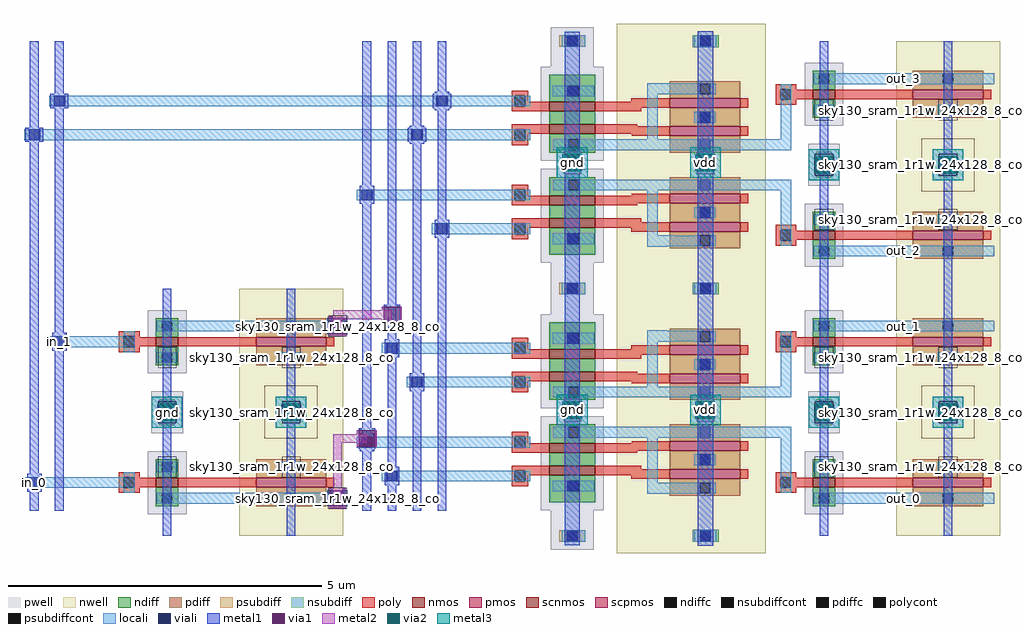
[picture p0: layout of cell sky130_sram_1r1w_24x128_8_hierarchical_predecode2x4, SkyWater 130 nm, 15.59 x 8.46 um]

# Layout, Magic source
magic
tech sky130B
magscale 1 2
<< locali >>
rect 2583 1443 3160 1477
rect 174 1372 1662 1406
rect 94 1264 1662 1298
rect 1156 1072 1662 1106
rect 1396 964 1662 998
rect 2583 893 3160 927
rect 2583 653 3160 687
rect 174 603 414 637
rect 1236 582 1662 616
rect 1316 474 1662 508
rect 1156 282 1662 316
rect 94 153 414 187
rect 1236 174 1662 208
rect 2583 103 3160 137
<< metal1 >>
rect 80 199 108 1580
rect 160 649 188 1580
rect 151 591 197 649
rect 71 141 117 199
rect 80 80 108 141
rect 160 80 188 591
rect 504 421 532 790
rect 900 421 928 790
rect 1030 644 1094 696
rect 486 369 550 421
rect 882 369 946 421
rect 504 80 532 369
rect 900 80 928 369
rect 1030 94 1094 146
rect 1142 80 1170 1580
rect 1222 80 1250 1580
rect 1302 80 1330 1580
rect 1382 80 1410 1580
rect 1788 1218 1836 1610
rect 2212 1218 2262 1612
rect 1780 1166 1844 1218
rect 2205 1166 2269 1218
rect 2602 1211 2630 1580
rect 2998 1211 3026 1580
rect 1788 428 1836 1166
rect 2212 428 2262 1166
rect 2584 1159 2648 1211
rect 2980 1159 3044 1211
rect 1780 376 1844 428
rect 2205 376 2269 428
rect 2602 421 2630 1159
rect 2998 421 3026 1159
rect 1788 80 1836 376
rect 2212 80 2262 376
rect 2584 369 2648 421
rect 2980 369 3044 421
rect 2602 80 2630 369
rect 2998 80 3026 369
<< metal2 >>
rect 1784 1168 1840 1216
rect 2209 1168 2265 1216
rect 2588 1161 2644 1209
rect 2984 1161 3040 1209
rect 1048 692 1236 720
rect 1048 670 1076 692
rect 490 371 546 419
rect 886 371 942 419
rect 1784 378 1840 426
rect 2209 378 2265 426
rect 2588 371 2644 419
rect 2984 371 3040 419
rect 1048 297 1156 325
rect 1048 120 1076 297
<< metal3 >>
rect 1763 1143 1861 1241
rect 2188 1143 2286 1241
rect 2567 1136 2665 1234
rect 2963 1136 3061 1234
rect 469 346 567 444
rect 865 346 963 444
rect 1763 353 1861 451
rect 2188 353 2286 451
rect 2567 346 2665 444
rect 2963 346 3061 444
use sky130_sram_1r1w_24x128_8_and2_dec  sky130_sram_1r1w_24x128_8_and2_dec_0
transform 1 0 1542 0 -1 1580
box 70 -56 1636 490
use sky130_sram_1r1w_24x128_8_and2_dec  sky130_sram_1r1w_24x128_8_and2_dec_1
transform 1 0 1542 0 1 790
box 70 -56 1636 490
use sky130_sram_1r1w_24x128_8_and2_dec  sky130_sram_1r1w_24x128_8_and2_dec_2
transform 1 0 1542 0 -1 790
box 70 -56 1636 490
use sky130_sram_1r1w_24x128_8_and2_dec  sky130_sram_1r1w_24x128_8_and2_dec_3
transform 1 0 1542 0 1 0
box 70 -56 1636 490
use sky130_sram_1r1w_24x128_8_contact_13  sky130_sram_1r1w_24x128_8_contact_13_0
transform 1 0 1033 0 1 637
box 0 0 58 66
use sky130_sram_1r1w_24x128_8_contact_13  sky130_sram_1r1w_24x128_8_contact_13_1
transform 1 0 1033 0 1 87
box 0 0 58 66
use sky130_sram_1r1w_24x128_8_contact_16  sky130_sram_1r1w_24x128_8_contact_16_0
transform 1 0 1363 0 1 1360
box 0 0 66 58
use sky130_sram_1r1w_24x128_8_contact_16  sky130_sram_1r1w_24x128_8_contact_16_1
transform 1 0 1283 0 1 1252
box 0 0 66 58
use sky130_sram_1r1w_24x128_8_contact_16  sky130_sram_1r1w_24x128_8_contact_16_2
transform 1 0 1363 0 1 952
box 0 0 66 58
use sky130_sram_1r1w_24x128_8_contact_16  sky130_sram_1r1w_24x128_8_contact_16_3
transform 1 0 1123 0 1 1060
box 0 0 66 58
use sky130_sram_1r1w_24x128_8_contact_16  sky130_sram_1r1w_24x128_8_contact_16_4
transform 1 0 1203 0 1 570
box 0 0 66 58
use sky130_sram_1r1w_24x128_8_contact_16  sky130_sram_1r1w_24x128_8_contact_16_5
transform 1 0 1283 0 1 462
box 0 0 66 58
use sky130_sram_1r1w_24x128_8_contact_16  sky130_sram_1r1w_24x128_8_contact_16_6
transform 1 0 1203 0 1 162
box 0 0 66 58
use sky130_sram_1r1w_24x128_8_contact_16  sky130_sram_1r1w_24x128_8_contact_16_7
transform 1 0 1123 0 1 270
box 0 0 66 58
use sky130_sram_1r1w_24x128_8_contact_16  sky130_sram_1r1w_24x128_8_contact_16_8
transform 1 0 141 0 1 591
box 0 0 66 58
use sky130_sram_1r1w_24x128_8_contact_16  sky130_sram_1r1w_24x128_8_contact_16_9
transform 1 0 61 0 1 141
box 0 0 66 58
use sky130_sram_1r1w_24x128_8_contact_18  sky130_sram_1r1w_24x128_8_contact_18_0
transform 1 0 2584 0 1 1153
box 0 0 64 64
use sky130_sram_1r1w_24x128_8_contact_18  sky130_sram_1r1w_24x128_8_contact_18_1
transform 1 0 1780 0 1 1160
box 0 0 64 64
use sky130_sram_1r1w_24x128_8_contact_18  sky130_sram_1r1w_24x128_8_contact_18_2
transform 1 0 2584 0 1 363
box 0 0 64 64
use sky130_sram_1r1w_24x128_8_contact_18  sky130_sram_1r1w_24x128_8_contact_18_3
transform 1 0 1780 0 1 370
box 0 0 64 64
use sky130_sram_1r1w_24x128_8_contact_18  sky130_sram_1r1w_24x128_8_contact_18_4
transform 1 0 486 0 1 363
box 0 0 64 64
use sky130_sram_1r1w_24x128_8_contact_18  sky130_sram_1r1w_24x128_8_contact_18_5
transform 1 0 486 0 1 363
box 0 0 64 64
use sky130_sram_1r1w_24x128_8_contact_18  sky130_sram_1r1w_24x128_8_contact_18_6
transform 1 0 2205 0 1 1160
box 0 0 64 64
use sky130_sram_1r1w_24x128_8_contact_18  sky130_sram_1r1w_24x128_8_contact_18_7
transform 1 0 2980 0 1 1153
box 0 0 64 64
use sky130_sram_1r1w_24x128_8_contact_18  sky130_sram_1r1w_24x128_8_contact_18_8
transform 1 0 2205 0 1 370
box 0 0 64 64
use sky130_sram_1r1w_24x128_8_contact_18  sky130_sram_1r1w_24x128_8_contact_18_9
transform 1 0 2980 0 1 363
box 0 0 64 64
use sky130_sram_1r1w_24x128_8_contact_18  sky130_sram_1r1w_24x128_8_contact_18_10
transform 1 0 882 0 1 363
box 0 0 64 64
use sky130_sram_1r1w_24x128_8_contact_18  sky130_sram_1r1w_24x128_8_contact_18_11
transform 1 0 882 0 1 363
box 0 0 64 64
use sky130_sram_1r1w_24x128_8_contact_18  sky130_sram_1r1w_24x128_8_contact_18_12
transform 1 0 1030 0 1 638
box 0 0 64 64
use sky130_sram_1r1w_24x128_8_contact_18  sky130_sram_1r1w_24x128_8_contact_18_13
transform 1 0 1030 0 1 88
box 0 0 64 64
use sky130_sram_1r1w_24x128_8_contact_19  sky130_sram_1r1w_24x128_8_contact_19_0
transform 1 0 1204 0 1 674
box 0 0 64 64
use sky130_sram_1r1w_24x128_8_contact_19  sky130_sram_1r1w_24x128_8_contact_19_1
transform 1 0 1124 0 1 279
box 0 0 64 64
use sky130_sram_1r1w_24x128_8_contact_20  sky130_sram_1r1w_24x128_8_contact_20_0
transform 1 0 1363 0 1 1366
box 0 0 66 46
use sky130_sram_1r1w_24x128_8_contact_20  sky130_sram_1r1w_24x128_8_contact_20_1
transform 1 0 141 0 1 1366
box 0 0 66 46
use sky130_sram_1r1w_24x128_8_contact_20  sky130_sram_1r1w_24x128_8_contact_20_2
transform 1 0 1283 0 1 1258
box 0 0 66 46
use sky130_sram_1r1w_24x128_8_contact_20  sky130_sram_1r1w_24x128_8_contact_20_3
transform 1 0 61 0 1 1258
box 0 0 66 46
use sky130_sram_1r1w_24x128_8_contact_21  sky130_sram_1r1w_24x128_8_contact_21_0
transform 1 0 2583 0 1 1148
box 0 0 66 74
use sky130_sram_1r1w_24x128_8_contact_21  sky130_sram_1r1w_24x128_8_contact_21_1
transform 1 0 1779 0 1 1155
box 0 0 66 74
use sky130_sram_1r1w_24x128_8_contact_21  sky130_sram_1r1w_24x128_8_contact_21_2
transform 1 0 2583 0 1 358
box 0 0 66 74
use sky130_sram_1r1w_24x128_8_contact_21  sky130_sram_1r1w_24x128_8_contact_21_3
transform 1 0 1779 0 1 365
box 0 0 66 74
use sky130_sram_1r1w_24x128_8_contact_21  sky130_sram_1r1w_24x128_8_contact_21_4
transform 1 0 485 0 1 358
box 0 0 66 74
use sky130_sram_1r1w_24x128_8_contact_21  sky130_sram_1r1w_24x128_8_contact_21_5
transform 1 0 485 0 1 358
box 0 0 66 74
use sky130_sram_1r1w_24x128_8_contact_21  sky130_sram_1r1w_24x128_8_contact_21_6
transform 1 0 2204 0 1 1155
box 0 0 66 74
use sky130_sram_1r1w_24x128_8_contact_21  sky130_sram_1r1w_24x128_8_contact_21_7
transform 1 0 2979 0 1 1148
box 0 0 66 74
use sky130_sram_1r1w_24x128_8_contact_21  sky130_sram_1r1w_24x128_8_contact_21_8
transform 1 0 2204 0 1 365
box 0 0 66 74
use sky130_sram_1r1w_24x128_8_contact_21  sky130_sram_1r1w_24x128_8_contact_21_9
transform 1 0 2979 0 1 358
box 0 0 66 74
use sky130_sram_1r1w_24x128_8_contact_21  sky130_sram_1r1w_24x128_8_contact_21_10
transform 1 0 881 0 1 358
box 0 0 66 74
use sky130_sram_1r1w_24x128_8_contact_21  sky130_sram_1r1w_24x128_8_contact_21_11
transform 1 0 881 0 1 358
box 0 0 66 74
use sky130_sram_1r1w_24x128_8_pinv_dec  sky130_sram_1r1w_24x128_8_pinv_dec_0
transform 1 0 320 0 -1 790
box 44 0 760 490
use sky130_sram_1r1w_24x128_8_pinv_dec  sky130_sram_1r1w_24x128_8_pinv_dec_1
transform 1 0 320 0 1 0
box 44 0 760 490
<< labels >>
rlabel metal1 s 71 141 117 199 4 in_0
port 1 nsew
rlabel metal1 s 151 591 197 649 4 in_1
port 2 nsew
rlabel locali s 2871 120 2871 120 4 out_0
port 3 nsew
rlabel locali s 2871 670 2871 670 4 out_1
port 4 nsew
rlabel locali s 2871 910 2871 910 4 out_2
port 5 nsew
rlabel locali s 2871 1460 2871 1460 4 out_3
port 6 nsew
rlabel metal3 s 2188 353 2286 451 4 vdd
port 7 nsew
rlabel metal3 s 2963 346 3061 444 4 vdd
port 7 nsew
rlabel metal3 s 2963 1136 3061 1234 4 vdd
port 7 nsew
rlabel metal3 s 865 346 963 444 4 vdd
port 7 nsew
rlabel metal3 s 2188 1143 2286 1241 4 vdd
port 7 nsew
rlabel metal3 s 2567 346 2665 444 4 gnd
port 8 nsew
rlabel metal3 s 469 346 567 444 4 gnd
port 8 nsew
rlabel metal3 s 2567 1136 2665 1234 4 gnd
port 8 nsew
rlabel metal3 s 1763 1143 1861 1241 4 gnd
port 8 nsew
rlabel metal3 s 1763 353 1861 451 4 gnd
port 8 nsew
<< properties >>
string FIXED_BBOX 0 0 3160 1580
<< end >>

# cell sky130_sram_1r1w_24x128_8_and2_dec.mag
magic
tech sky130B
magscale 1 2
<< locali >>
rect 70 282 136 316
rect 549 314 970 348
rect 70 174 136 208
rect 936 170 970 314
rect 1041 103 1618 137
<< metal1 >>
rect 246 -30 294 402
rect 670 -32 720 402
rect 1060 0 1088 395
rect 1456 0 1484 395
use sky130_fd_bd_sram__openram_dp_nand2_dec  sky130_fd_bd_sram__openram_dp_nand2_dec_0
transform 1 0 0 0 1 0
box 70 -56 888 476
use sky130_sram_1r1w_24x128_8_pinv_dec  sky130_sram_1r1w_24x128_8_pinv_dec_0
transform 1 0 876 0 1 0
box 44 0 760 490
<< labels >>
rlabel locali s 1329 120 1329 120 4 Z
port 1 nsew
rlabel locali s 103 299 103 299 4 A
port 2 nsew
rlabel locali s 103 191 103 191 4 B
port 3 nsew
rlabel metal1 s 1456 0 1484 395 4 vdd
port 4 nsew
rlabel metal1 s 670 -32 720 402 4 vdd
port 4 nsew
rlabel metal1 s 246 -30 294 402 4 gnd
port 5 nsew
rlabel metal1 s 1060 0 1088 395 4 gnd
port 5 nsew
<< properties >>
string FIXED_BBOX 0 0 1618 395
<< end >>

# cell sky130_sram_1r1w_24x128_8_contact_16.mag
magic
tech sky130B
<< locali >>
rect 0 6 8 23
rect 25 6 33 23
<< viali >>
rect 8 6 25 23
<< metal1 >>
rect 5 23 28 29
rect 5 6 8 23
rect 25 6 28 23
rect 5 0 28 6
<< properties >>
string FIXED_BBOX 0 0 33 29
<< end >>

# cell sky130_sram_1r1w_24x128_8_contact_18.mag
magic
tech sky130B
<< metal1 >>
rect 0 3 3 29
rect 29 3 32 29
<< via1 >>
rect 3 3 29 29
<< metal2 >>
rect 3 29 29 32
rect 3 0 29 3
<< properties >>
string FIXED_BBOX 0 0 32 32
<< end >>

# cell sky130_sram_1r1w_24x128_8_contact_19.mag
magic
tech sky130B
<< metal1 >>
rect 3 29 29 32
rect 3 0 29 3
<< via1 >>
rect 3 3 29 29
<< metal2 >>
rect 0 3 3 29
rect 29 3 32 29
<< properties >>
string FIXED_BBOX 0 0 32 32
<< end >>

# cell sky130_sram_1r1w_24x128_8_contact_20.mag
magic
tech sky130B
<< locali >>
rect 0 3 8 20
rect 25 3 33 20
<< viali >>
rect 8 3 25 20
<< metal1 >>
rect 2 20 31 23
rect 2 3 8 20
rect 25 3 31 20
rect 2 0 31 3
<< properties >>
string FIXED_BBOX 0 0 33 23
<< end >>

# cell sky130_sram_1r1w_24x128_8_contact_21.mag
magic
tech sky130B
magscale 1 2
<< metal2 >>
rect 5 65 61 74
rect 5 0 61 9
<< via2 >>
rect 5 9 61 65
<< metal3 >>
rect 0 65 66 70
rect 0 9 5 65
rect 61 9 66 65
rect 0 4 66 9
<< properties >>
string FIXED_BBOX 0 0 66 74
<< end >>

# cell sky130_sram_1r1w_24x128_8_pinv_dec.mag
magic
tech sky130B
magscale 1 2
<< nwell >>
rect 428 0 760 490
<< poly >>
rect 77 155 136 185
rect 260 155 456 185
<< locali >>
rect 60 137 94 203
rect 165 103 742 137
<< metal1 >>
rect 184 0 212 395
rect 580 0 608 395
use sky130_sram_1r1w_24x128_8_contact_12  sky130_sram_1r1w_24x128_8_contact_12_0
transform 1 0 569 0 1 354
box -59 -43 109 125
use sky130_sram_1r1w_24x128_8_contact_13  sky130_sram_1r1w_24x128_8_contact_13_0
transform 1 0 565 0 1 187
box 0 0 58 66
use sky130_sram_1r1w_24x128_8_contact_13  sky130_sram_1r1w_24x128_8_contact_13_1
transform 1 0 169 0 1 187
box 0 0 58 66
use sky130_sram_1r1w_24x128_8_contact_13  sky130_sram_1r1w_24x128_8_contact_13_2
transform 1 0 169 0 1 362
box 0 0 58 66
use sky130_sram_1r1w_24x128_8_contact_13  sky130_sram_1r1w_24x128_8_contact_13_3
transform 1 0 565 0 1 362
box 0 0 58 66
use sky130_sram_1r1w_24x128_8_contact_14  sky130_sram_1r1w_24x128_8_contact_14_0
transform 1 0 173 0 1 354
box -26 -26 76 108
use sky130_sram_1r1w_24x128_8_contact_15  sky130_sram_1r1w_24x128_8_contact_15_0
transform 1 0 44 0 1 137
box 0 0 66 66
use sky130_sram_1r1w_24x128_8_nmos_m1_w0_360_sli_dli_da_p  sky130_sram_1r1w_24x128_8_nmos_m1_w0_360_sli_dli_da_p_0
transform 0 1 162 -1 0 245
box -26 -26 176 98
use sky130_sram_1r1w_24x128_8_pmos_m1_w1_120_sli_dli_da_p  sky130_sram_1r1w_24x128_8_pmos_m1_w1_120_sli_dli_da_p_0
transform 0 1 482 -1 0 245
box -59 -54 209 278
<< labels >>
rlabel locali s 77 170 77 170 4 A
port 1 nsew
rlabel locali s 453 120 453 120 4 Z
port 2 nsew
rlabel metal1 s 184 0 212 395 4 gnd
port 3 nsew
rlabel metal1 s 580 0 608 395 4 vdd
port 4 nsew
<< properties >>
string FIXED_BBOX 0 0 742 395
<< end >>

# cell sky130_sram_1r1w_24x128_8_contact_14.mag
magic
tech sky130B
<< pwell >>
rect -13 -13 38 54
<< psubdiff >>
rect 0 29 25 41
rect 0 12 4 29
rect 21 12 25 29
rect 0 0 25 12
<< psubdiffcont >>
rect 4 12 21 29
<< locali >>
rect 4 29 21 37
rect 4 4 21 12
<< properties >>
string FIXED_BBOX -12 -12 37 53
<< end >>

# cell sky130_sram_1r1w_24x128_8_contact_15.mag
magic
tech sky130B
<< poly >>
rect 0 25 33 33
rect 0 8 8 25
rect 25 8 33 25
rect 0 0 33 8
<< polycont >>
rect 8 8 25 25
<< locali >>
rect 8 25 25 33
rect 8 0 25 8
<< properties >>
string FIXED_BBOX -10 -10 43 43
<< end >>

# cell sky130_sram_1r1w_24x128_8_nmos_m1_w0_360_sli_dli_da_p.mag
magic
tech sky130B
magscale 1 2
<< pwell >>
rect -26 -26 176 98
<< scnmos >>
rect 60 0 90 72
<< ndiff >>
rect 0 0 60 72
rect 90 0 150 72
<< poly >>
rect 60 72 90 98
rect 60 -26 90 0
<< locali >>
rect 8 3 42 69
rect 108 3 142 69
use sky130_sram_1r1w_24x128_8_contact_10  sky130_sram_1r1w_24x128_8_contact_10_0
transform 1 0 100 0 1 3
box -26 -22 76 88
use sky130_sram_1r1w_24x128_8_contact_10  sky130_sram_1r1w_24x128_8_contact_10_1
transform 1 0 0 0 1 3
box -26 -22 76 88
<< labels >>
rlabel poly s 75 36 75 36 4 G
port 1 nsew
rlabel locali s 25 36 25 36 4 S
port 2 nsew
rlabel locali s 125 36 125 36 4 D
port 3 nsew
<< properties >>
string FIXED_BBOX -25 -26 175 98
<< end >>

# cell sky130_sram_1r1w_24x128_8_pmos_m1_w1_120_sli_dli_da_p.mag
magic
tech sky130B
magscale 1 2
<< nwell >>
rect -54 -54 204 278
<< scpmos >>
rect 60 0 90 224
<< pdiff >>
rect 0 0 60 224
rect 90 0 150 224
<< poly >>
rect 60 224 90 250
rect 60 -26 90 0
<< locali >>
rect 8 79 42 145
rect 108 79 142 145
use sky130_sram_1r1w_24x128_8_contact_11  sky130_sram_1r1w_24x128_8_contact_11_0
transform 1 0 100 0 1 79
box -59 -51 109 117
use sky130_sram_1r1w_24x128_8_contact_11  sky130_sram_1r1w_24x128_8_contact_11_1
transform 1 0 0 0 1 79
box -59 -51 109 117
<< labels >>
rlabel poly s 75 112 75 112 4 G
port 1 nsew
rlabel locali s 25 112 25 112 4 S
port 2 nsew
rlabel locali s 125 112 125 112 4 D
port 3 nsew
<< properties >>
string FIXED_BBOX -54 -54 204 278
<< end >>

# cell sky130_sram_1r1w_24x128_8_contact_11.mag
magic
tech sky130B
magscale 1 2
<< nwell >>
rect -59 -51 109 117
<< pdiff >>
rect 0 50 50 62
rect 0 16 8 50
rect 42 16 50 50
rect 0 4 50 16
<< pdiffc >>
rect 8 16 42 50
<< locali >>
rect 8 50 42 66
rect 8 0 42 16
<< properties >>
string FIXED_BBOX -59 -51 109 117
<< end >>

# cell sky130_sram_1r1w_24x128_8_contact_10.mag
magic
tech sky130B
<< pwell >>
rect -13 -11 38 44
<< ndiff >>
rect 0 25 25 31
rect 0 8 4 25
rect 21 8 25 25
rect 0 2 25 8
<< ndiffc >>
rect 4 8 21 25
<< locali >>
rect 4 25 21 33
rect 4 0 21 8
<< properties >>
string FIXED_BBOX -12 -10 37 43
<< end >>

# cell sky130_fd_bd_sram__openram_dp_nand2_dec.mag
magic
tech sky130B
magscale 1 2
<< nwell >>
rect 412 -56 888 476
<< pwell >>
rect 170 82 370 382
rect 202 -44 338 82
<< nmos >>
rect 196 266 344 296
rect 196 194 344 224
<< pmos >>
rect 582 272 806 302
rect 582 182 806 212
<< ndiff >>
rect 196 348 344 356
rect 196 314 257 348
rect 291 314 344 348
rect 196 296 344 314
rect 196 224 344 266
rect 196 176 344 194
rect 196 142 259 176
rect 293 142 344 176
rect 196 108 344 142
<< pdiff >>
rect 582 348 806 356
rect 582 314 677 348
rect 711 314 806 348
rect 582 302 806 314
rect 582 260 806 272
rect 582 226 677 260
rect 711 226 806 260
rect 582 212 806 226
rect 582 170 806 182
rect 582 136 677 170
rect 711 136 806 170
rect 582 128 806 136
<< ndiffc >>
rect 257 314 291 348
rect 259 142 293 176
<< pdiffc >>
rect 677 314 711 348
rect 677 226 711 260
rect 677 136 711 170
<< psubdiff >>
rect 228 17 312 18
rect 228 -17 253 17
rect 287 -17 312 17
rect 228 -18 312 -17
<< nsubdiff >>
rect 654 17 738 19
rect 654 -17 679 17
rect 713 -17 738 17
rect 654 -19 738 -17
<< psubdiffcont >>
rect 253 -17 287 17
<< nsubdiffcont >>
rect 679 -17 713 17
<< poly >>
rect 76 316 130 332
rect 76 282 86 316
rect 120 296 130 316
rect 460 296 582 302
rect 120 282 196 296
rect 76 266 196 282
rect 344 272 582 296
rect 806 272 832 302
rect 344 266 478 272
rect 76 208 196 224
rect 76 174 86 208
rect 120 194 196 208
rect 344 212 490 224
rect 344 194 582 212
rect 120 174 130 194
rect 76 158 130 174
rect 458 182 582 194
rect 806 182 832 212
<< polycont >>
rect 86 282 120 316
rect 86 174 120 208
<< locali >>
rect 70 282 86 316
rect 120 282 136 316
rect 210 314 257 348
rect 291 314 677 348
rect 711 314 888 348
rect 70 174 86 208
rect 120 174 136 208
rect 208 142 254 176
rect 293 142 340 176
rect 509 170 543 314
rect 660 226 677 260
rect 711 226 727 260
rect 509 169 598 170
rect 660 169 677 170
rect 509 136 677 169
rect 711 136 728 170
rect 509 135 685 136
rect 509 134 572 135
rect 236 17 312 18
rect 236 -17 253 17
rect 287 -17 312 17
rect 236 -18 312 -17
rect 660 17 730 19
rect 660 -17 679 17
rect 713 -17 730 17
rect 660 -19 730 -17
<< viali >>
rect 254 142 259 176
rect 259 142 288 176
rect 677 226 711 260
rect 253 -17 287 17
rect 679 -17 713 17
<< metal1 >>
rect 246 176 294 402
rect 246 142 254 176
rect 288 142 294 176
rect 246 17 294 142
rect 246 -17 253 17
rect 287 -17 294 17
rect 246 -30 294 -17
rect 670 260 720 402
rect 670 226 677 260
rect 711 226 720 260
rect 670 17 720 226
rect 670 -17 679 17
rect 713 -17 720 17
rect 670 -32 720 -17
<< labels >>
rlabel metal1 s 246 -30 294 402 4 GND
port 1 nsew
rlabel metal1 s 670 -32 720 402 4 VDD
port 2 nsew
rlabel locali s 103 191 103 191 4 B
port 3 nsew
rlabel locali s 103 299 103 299 4 A
port 4 nsew
rlabel locali s 854 331 854 331 4 Z
port 5 nsew
rlabel locali s 103 299 103 299 4 A
port 4 nsew
rlabel locali s 103 191 103 191 4 B
port 3 nsew
rlabel locali s 549 331 549 331 4 Z
port 5 nsew
rlabel metal1 s 695 185 695 185 4 vdd
port 6 nsew
rlabel metal1 s 270 186 270 186 4 gnd
port 7 nsew
<< properties >>
string FIXED_BBOX 0 0 876 395
<< end >>
